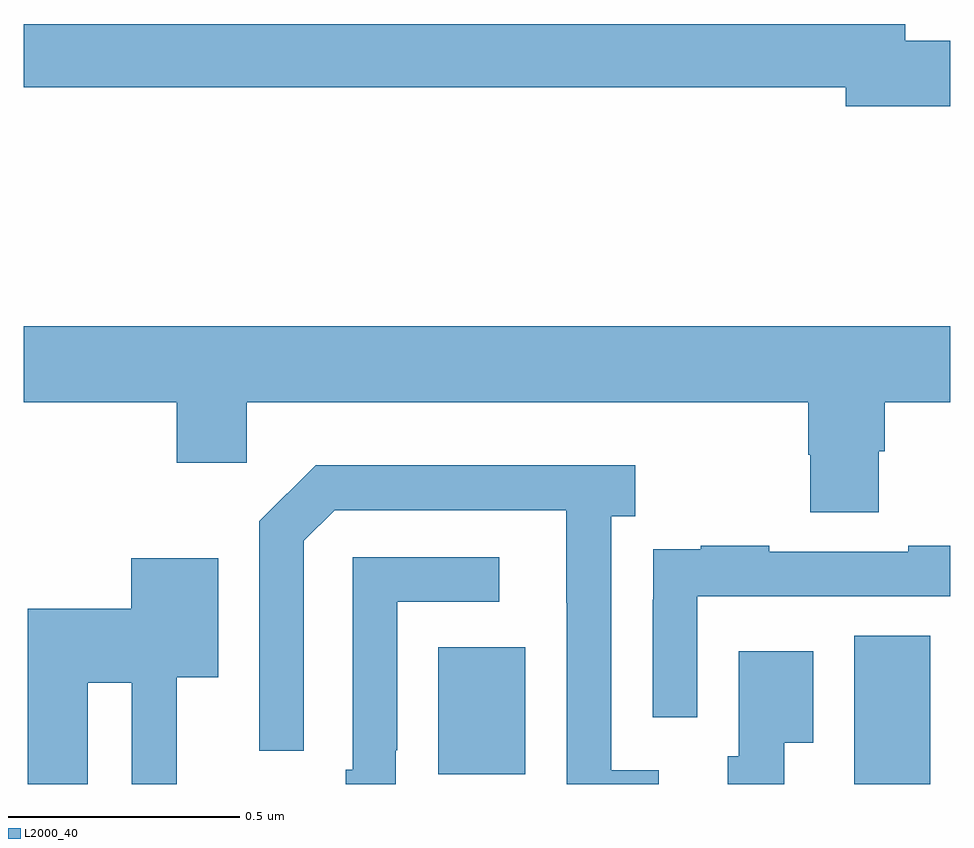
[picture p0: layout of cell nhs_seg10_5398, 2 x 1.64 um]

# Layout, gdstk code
import gdstk
lib = gdstk.Library(unit=1e-6, precision=1e-09)
def R(c, l, rs):  # rectangles x0, y0, x1, y1
    for r in rs: c.add(gdstk.rectangle(r[:2], r[2:], *l))
def P(c, l, *ps):  # polygons
    for p in ps: c.add(gdstk.Polygon(p, *l))
L2000_40 = (2000, 40)

nhs_seg10_5398 = lib.new_cell('nhs_seg10_5398')
R(nhs_seg10_5398, L2000_40, [(179.792,1291.5,179.956,1291.82), (178.895,1291.521,179.083,1291.795)])
P(nhs_seg10_5398, L2000_40, [(180,1293.104),(179.902,1293.104),(179.902,1293.14),(178,1293.14),(178,1293.004),(179.774,1293.004),(179.774,1292.962),(180,1292.962)],
  [(179.845,1292.218),(179.858,1292.218),(179.858,1292.324),(180,1292.324),(180,1292.488),(178,1292.488),(178,1292.324),(178.331,1292.324),(178.331,1292.193),(178.482,1292.193),(178.482,1292.324),(179.693,1292.324),(179.693,1292.211),(179.698,1292.211),(179.698,1292.086),(179.845,1292.086)],
  [(179.371,1291.53),(179.268,1291.53),(179.268,1292.078),(179.32,1292.078),(179.32,1292.188),(178.63,1292.188),(178.509,1292.067),(178.509,1291.572),(178.605,1291.572),(178.605,1292.025),(178.671,1292.091),(179.171,1292.091),(179.171,1291.891),(179.172,1291.891),(179.172,1291.5),(179.371,1291.5)],
  [(179.454,1291.905),(180,1291.905),(180,1292.014),(179.909,1292.014),(179.909,1292.001),(179.609,1292.001),(179.609,1292.014),(179.461,1292.014),(179.461,1292.007),(179.359,1292.007),(179.359,1291.898),(179.358,1291.898),(179.358,1291.644),(179.454,1291.644)],
  [(178.803,1291.573),(178.806,1291.573),(178.806,1291.893),(179.026,1291.893),(179.026,1291.989),(178.71,1291.989),(178.71,1291.531),(178.695,1291.531),(178.695,1291.5),(178.803,1291.5)],
  [(178.138,1291.718),(178.233,1291.718),(178.233,1291.5),(178.331,1291.5),(178.331,1291.73),(178.42,1291.73),(178.42,1291.987),(178.232,1291.987),(178.232,1291.878),(178.009,1291.878),(178.009,1291.5),(178.138,1291.5)],
  [(179.641,1291.589),(179.704,1291.589),(179.704,1291.786),(179.543,1291.786),(179.543,1291.56),(179.519,1291.56),(179.519,1291.5),(179.641,1291.5)])

lib.write_gds('nhs_seg10_5398.gds')
